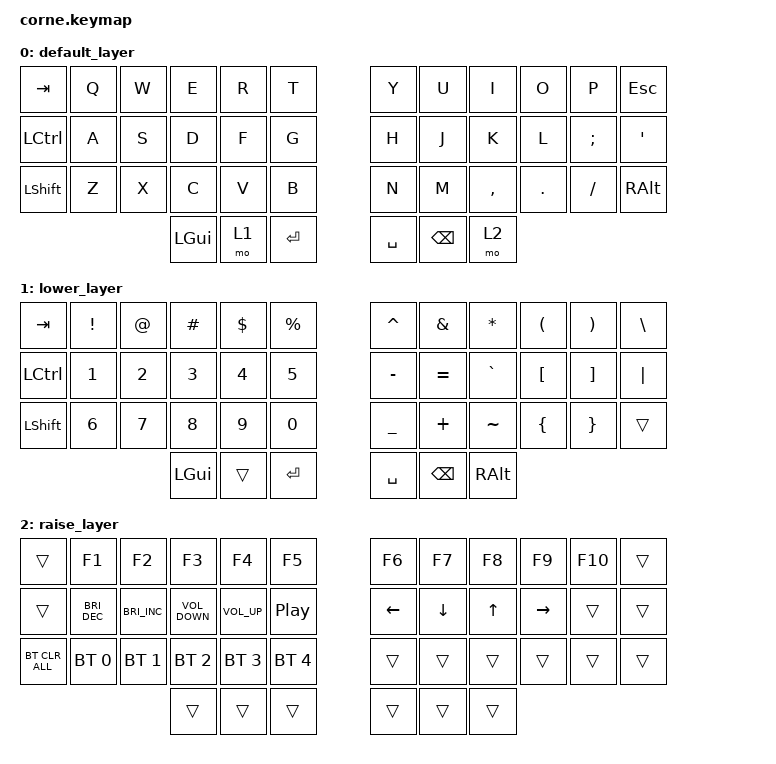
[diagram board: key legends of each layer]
/*
 * Copyright (c) 2020 The ZMK Contributors
 *
 * SPDX-License-Identifier: MIT
 */

#include <behaviors.dtsi>
#include <dt-bindings/zmk/bt.h>
#include <dt-bindings/zmk/keys.h>

/ {
    keymap {
        compatible = "zmk,keymap";

        default_layer {
            // -----------------------------------------------------------------------------------------
            // |  TAB |  Q  |  W  |  E  |  R  |  T  |   |  Y  |  U   |  I  |  O  |  P  | BKSP |
            // | CTRL |  A  |  S  |  D  |  F  |  G  |   |  H  |  J   |  K  |  L  |  ;  |  '   |
            // | SHFT |  Z  |  X  |  C  |  V  |  B  |   |  N  |  M   |  ,  |  .  |  /  | ESC  |
            //                    | GUI | LWR | SPC |   | ENT | RSE  | ALT |

            bindings = <
&kp TAB    &kp Q  &kp W  &kp E     &kp R  &kp T        &kp Y      &kp U          &kp I      &kp O    &kp P     &kp ESC
&kp LCTRL  &kp A  &kp S  &kp D     &kp F  &kp G        &kp H      &kp J          &kp K      &kp L    &kp SEMI  &kp SQT
&kp LSHFT  &kp Z  &kp X  &kp C     &kp V  &kp B        &kp N      &kp M          &kp COMMA  &kp DOT  &kp FSLH  &kp RIGHT_ALT
                         &kp LGUI  &mo 1  &kp ENTER    &kp SPACE  &kp BACKSPACE  &mo 2
            >;
        };

        lower_layer {
            // -----------------------------------------------------------------------------------------
            // |  TAB |  1  |  2  |  3  |  4  |  5  |   |  6  |  7  |  8  |  9  |  0  | BKSP |
            // | BTCLR| BT1 | BT2 | BT3 | BT4 | BT5 |   | LFT | DWN |  UP | RGT |     |      |
            // | SHFT |     |     |     |     |     |   |     |     |     |     |     |      |
            //                    | GUI |     | SPC |   | ENT |     | ALT |

            bindings = <
&kp TAB           &kp EXCLAMATION  &kp AT_SIGN   &kp POUND     &kp DOLLAR    &kp PERCENT     &kp CARET       &kp AMPERSAND  &kp ASTERISK  &kp LEFT_PARENTHESIS  &kp RIGHT_PARENTHESIS  &kp BACKSLASH
&kp LEFT_CONTROL  &kp NUMBER_1     &kp NUMBER_2  &kp NUMBER_3  &kp NUMBER_4  &kp NUMBER_5    &kp MINUS       &kp EQUAL      &kp GRAVE     &kp LEFT_BRACKET      &kp RIGHT_BRACKET      &kp PIPE
&kp LSHFT         &kp NUMBER_6     &kp NUMBER_7  &kp NUMBER_8  &kp NUMBER_9  &kp NUMBER_0    &kp UNDERSCORE  &kp PLUS       &kp TILDE     &kp LEFT_BRACE        &kp RIGHT_BRACE        &trans
                                                 &kp LGUI      &trans        &kp ENTER       &kp SPACE       &kp BACKSPACE  &kp RALT
            >;
        };

        raise_layer {
            // -----------------------------------------------------------------------------------------
            // |  TAB |  !  |  @  |  #  |  $  |  %  |   |  ^  |  &  |  *  |  (  |  )  | BKSP |
            // | CTRL |     |     |     |     |     |   |  -  |  =  |  [  |  ]  |  \  |  `   |
            // | SHFT |     |     |     |     |     |   |  _  |  +  |  {  |  }  | "|" |  ~   |
            //                    | GUI |     | SPC |   | ENT |     | ALT |

            bindings = <
&trans          &kp F1                &kp F2                &kp F3             &kp F4           &kp F5              &kp F6          &kp F7          &kp F8        &kp F9           &kp F10  &trans
&trans          &kp C_BRIGHTNESS_DEC  &kp C_BRIGHTNESS_INC  &kp C_VOLUME_DOWN  &kp C_VOLUME_UP  &kp C_PLAY_PAUSE    &kp LEFT_ARROW  &kp DOWN_ARROW  &kp UP_ARROW  &kp RIGHT_ARROW  &trans   &trans
&bt BT_CLR_ALL  &bt BT_SEL 0          &bt BT_SEL 1          &bt BT_SEL 2       &bt BT_SEL 3     &bt BT_SEL 4        &trans          &trans          &trans        &trans           &trans   &trans
                                                            &trans             &trans           &trans              &trans          &trans          &trans
            >;
        };
    };
};
